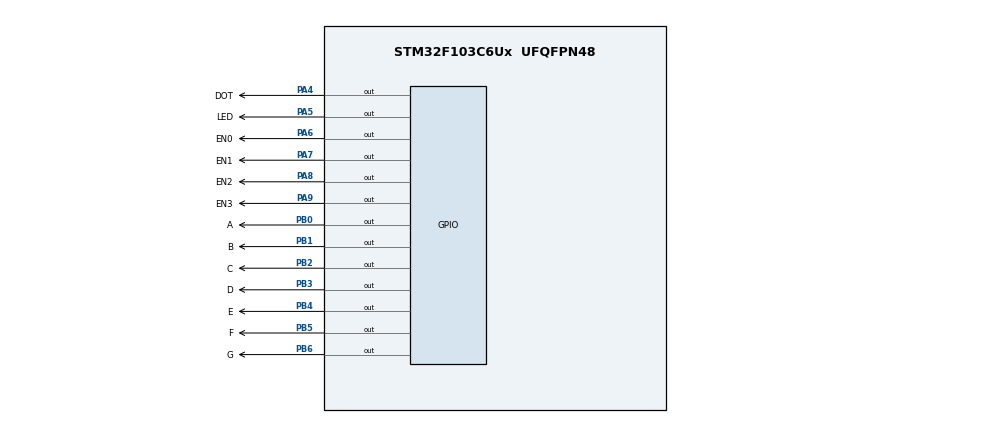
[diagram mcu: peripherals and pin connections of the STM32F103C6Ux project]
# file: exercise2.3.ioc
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Mcu.Family=STM32F1
Mcu.Name=STM32F103C6Ux
Mcu.Package=UFQFPN48
NVIC.PriorityGroup=NVIC_PRIORITYGROUP_4
NVIC.TIM2_IRQn=true\:0\:0\:false\:false\:true\:true\:true
PA4.GPIO_Label=DOT
PA4.Signal=GPIO_Output
PA5.GPIO_Label=LED
PA5.Signal=GPIO_Output
PA6.GPIO_Label=EN0
PA6.Signal=GPIO_Output
PA7.GPIO_Label=EN1
PA7.Signal=GPIO_Output
PA8.GPIO_Label=EN2
PA8.Signal=GPIO_Output
PA9.GPIO_Label=EN3
PA9.Signal=GPIO_Output
PB0.GPIO_Label=A
PB0.Signal=GPIO_Output
PB1.GPIO_Label=B
PB1.Signal=GPIO_Output
PB2.GPIO_Label=C
PB2.Signal=GPIO_Output
PB3.GPIO_Label=D
PB3.Signal=GPIO_Output
PB4.GPIO_Label=E
PB4.Signal=GPIO_Output
PB5.GPIO_Label=F
PB5.Signal=GPIO_Output
PB6.GPIO_Label=G
PB6.Signal=GPIO_Output
ProjectManager.HeapSize=0x200
ProjectManager.StackSize=0x400
ProjectManager.TargetToolchain=STM32CubeIDE
RCC.APB1Freq_Value=8000000
RCC.APB2Freq_Value=8000000
TIM2.Period=9
TIM2.Prescaler=7999
VP_SYS_VS_ND.Mode=No_Debug
VP_TIM2_VS_ClockSourceINT.Mode=Internal
board=custom

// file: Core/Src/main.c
/* USER CODE BEGIN Header */
/**
  ******************************************************************************
  * @file           : main.c
  * @brief          : Main program body
  ******************************************************************************
  * @attention
  *
  * <h2><center>&copy; Copyright (c) 2025 STMicroelectronics.
  * All rights reserved.</center></h2>
  *
  * This software component is licensed by ST under BSD 3-Clause license,
  * the "License"; You may not use this file except in compliance with the
  * License. You may obtain a copy of the License at:
  *                        opensource.org/licenses/BSD-3-Clause
  *
  ******************************************************************************
  */
/* USER CODE END Header */
#include "main.h"

TIM_HandleTypeDef htim2;

/* USER CODE BEGIN PV */
void display7SEG(int num);
void update7SEG(int num);
/* USER CODE END PV */

void SystemClock_Config(void);
static void MX_GPIO_Init(void);
static void MX_TIM2_Init(void);

/* USER CODE BEGIN 0 */
const uint8_t seg_table[10]={
			0b1000000,
			0b1111001,
			0b0100100,
			0b0110000,
			0b0011001,
			0b0010010,
			0b0000010,
			0b1111000,
			0b0000000,
			0b0010000
};
uint16_t seg_pins[7] ={A_Pin, B_Pin, C_Pin, D_Pin, E_Pin, F_Pin, G_Pin};
/* USER CODE END 0 */

int main(void)
{

  /* MCU Configuration--------------------------------------------------------*/

  /* Reset of all peripherals, Initializes the Flash interface and the Systick. */
  HAL_Init();

  /* Configure the system clock */
  SystemClock_Config();

  /* Initialize all configured peripherals */
  MX_GPIO_Init();
  MX_TIM2_Init();
  /* USER CODE BEGIN 2 */
  HAL_TIM_Base_Start_IT(&htim2);
  /* USER CODE END 2 */

  /* Infinite loop */
  while (1)
  {

  }
}

void SystemClock_Config(void)
{
  RCC_OscInitTypeDef RCC_OscInitStruct = {0};
  RCC_ClkInitTypeDef RCC_ClkInitStruct = {0};

  /** Initializes the RCC Oscillators according to the specified parameters
  * in the RCC_OscInitTypeDef structure.
  */
  RCC_OscInitStruct.OscillatorType = RCC_OSCILLATORTYPE_HSI;
  RCC_OscInitStruct.HSIState = RCC_HSI_ON;
  RCC_OscInitStruct.HSICalibrationValue = RCC_HSICALIBRATION_DEFAULT;
  RCC_OscInitStruct.PLL.PLLState = RCC_PLL_NONE;
  if (HAL_RCC_OscConfig(&RCC_OscInitStruct) != HAL_OK)
  {
    Error_Handler();
  }
  /** Initializes the CPU, AHB and APB buses clocks
  */
  RCC_ClkInitStruct.ClockType = RCC_CLOCKTYPE_HCLK|RCC_CLOCKTYPE_SYSCLK
                              |RCC_CLOCKTYPE_PCLK1|RCC_CLOCKTYPE_PCLK2;
  RCC_ClkInitStruct.SYSCLKSource = RCC_SYSCLKSOURCE_HSI;
  RCC_ClkInitStruct.AHBCLKDivider = RCC_SYSCLK_DIV1;
  RCC_ClkInitStruct.APB1CLKDivider = RCC_HCLK_DIV1;
  RCC_ClkInitStruct.APB2CLKDivider = RCC_HCLK_DIV1;

  if (HAL_RCC_ClockConfig(&RCC_ClkInitStruct, FLASH_LATENCY_0) != HAL_OK)
  {
    Error_Handler();
  }
}

static void MX_TIM2_Init(void)
{

  TIM_ClockConfigTypeDef sClockSourceConfig = {0};
  TIM_MasterConfigTypeDef sMasterConfig = {0};

  htim2.Instance = TIM2;
  htim2.Init.Prescaler = 7999;
  htim2.Init.CounterMode = TIM_COUNTERMODE_UP;
  htim2.Init.Period = 9;
  htim2.Init.ClockDivision = TIM_CLOCKDIVISION_DIV1;
  htim2.Init.AutoReloadPreload = TIM_AUTORELOAD_PRELOAD_DISABLE;
  if (HAL_TIM_Base_Init(&htim2) != HAL_OK)
  {
    Error_Handler();
  }
  sClockSourceConfig.ClockSource = TIM_CLOCKSOURCE_INTERNAL;
  if (HAL_TIM_ConfigClockSource(&htim2, &sClockSourceConfig) != HAL_OK)
  {
    Error_Handler();
  }
  sMasterConfig.MasterOutputTrigger = TIM_TRGO_RESET;
  sMasterConfig.MasterSlaveMode = TIM_MASTERSLAVEMODE_DISABLE;
  if (HAL_TIMEx_MasterConfigSynchronization(&htim2, &sMasterConfig) != HAL_OK)
  {
    Error_Handler();
  }

}

static void MX_GPIO_Init(void)
{
  GPIO_InitTypeDef GPIO_InitStruct = {0};

  /* GPIO Ports Clock Enable */
  __HAL_RCC_GPIOA_CLK_ENABLE();
  __HAL_RCC_GPIOB_CLK_ENABLE();

  /*Configure GPIO pin Output Level */
  HAL_GPIO_WritePin(GPIOA, DOT_Pin|LED_Pin|EN0_Pin|EN1_Pin
                          |EN2_Pin|EN3_Pin, GPIO_PIN_SET);

  /*Configure GPIO pin Output Level */
  HAL_GPIO_WritePin(GPIOB, A_Pin|B_Pin|C_Pin|D_Pin
                          |E_Pin|F_Pin|G_Pin, GPIO_PIN_SET);

  /*Configure GPIO pins : DOT_Pin LED_Pin EN0_Pin EN1_Pin
                           EN2_Pin EN3_Pin */
  GPIO_InitStruct.Pin = DOT_Pin|LED_Pin|EN0_Pin|EN1_Pin
                          |EN2_Pin|EN3_Pin;
  GPIO_InitStruct.Mode = GPIO_MODE_OUTPUT_PP;
  GPIO_InitStruct.Pull = GPIO_NOPULL;
  GPIO_InitStruct.Speed = GPIO_SPEED_FREQ_LOW;
  HAL_GPIO_Init(GPIOA, &GPIO_InitStruct);

  /*Configure GPIO pins : A_Pin B_Pin C_Pin D_Pin
                           E_Pin F_Pin G_Pin */
  GPIO_InitStruct.Pin = A_Pin|B_Pin|C_Pin|D_Pin
                          |E_Pin|F_Pin|G_Pin;
  GPIO_InitStruct.Mode = GPIO_MODE_OUTPUT_PP;
  GPIO_InitStruct.Pull = GPIO_NOPULL;
  GPIO_InitStruct.Speed = GPIO_SPEED_FREQ_LOW;
  HAL_GPIO_Init(GPIOB, &GPIO_InitStruct);

}

/* USER CODE BEGIN 4 */
void display7SEG(int num){
	uint8_t pattern= seg_table[num];
		for(int i=0; i< 7; i++){
			if( pattern & (1<<i) )
				HAL_GPIO_WritePin(GPIOB, seg_pins[i], SET);
			else
				HAL_GPIO_WritePin(GPIOB, seg_pins[i], RESET);
		}
}
const int MAX_LED = 4;
int led_index =0;
int led_buffer[4] = {1,2,3,4};
int counter =0;
void update7SEG(int index){
	HAL_GPIO_WritePin(GPIOA, EN0_Pin | EN1_Pin | EN2_Pin | EN3_Pin, SET);
	  if(index < 0 || index >= MAX_LED) return;
	  display7SEG( led_buffer[index] );
	switch (index){
	case 0:
		HAL_GPIO_WritePin(GPIOA, EN0_Pin, RESET);
		break;
	case 1:
		HAL_GPIO_WritePin(GPIOA, EN1_Pin, RESET);
		break;
	case 2:
		HAL_GPIO_WritePin(GPIOA, EN2_Pin, RESET);
		break;
	case 3:
		HAL_GPIO_WritePin(GPIOA, EN3_Pin, RESET);
		break;
	default:
		break;
	}
}
//void HAL_TIM_PeriodElapsedCallback(TIM_HandleTypeDef* htim){
//	if(htim->Instance == TIM2){
//		        counter++;
//		        if(counter >= 100){
//		            HAL_GPIO_TogglePin(GPIOA, LED_Pin);
//		            HAL_GPIO_TogglePin(GPIOA, DOT_Pin);
//		            counter = 0;
//		            update7SEG(led_index);
//		            led_index++;
//		            if(led_index >= MAX_LED) led_index = 0;
//		        }
//	}
//}// chạy bài 4
void HAL_TIM_PeriodElapsedCallback(TIM_HandleTypeDef* htim){
    if(htim->Instance == TIM2){
        update7SEG(led_index);
        led_index++;
        if(led_index >= MAX_LED) led_index = 0;

        counter++;
        if(counter >= 50){
            HAL_GPIO_TogglePin(GPIOA, LED_Pin);
            HAL_GPIO_TogglePin(GPIOA, DOT_Pin);
            counter = 0;
        }
    }
} //code này cho bài 3
/* USER CODE END 4 */

void Error_Handler(void)
{
  __disable_irq();
  while (1)
  {
  }
}

/************************ (C) COPYRIGHT STMicroelectronics *****END OF FILE****/
